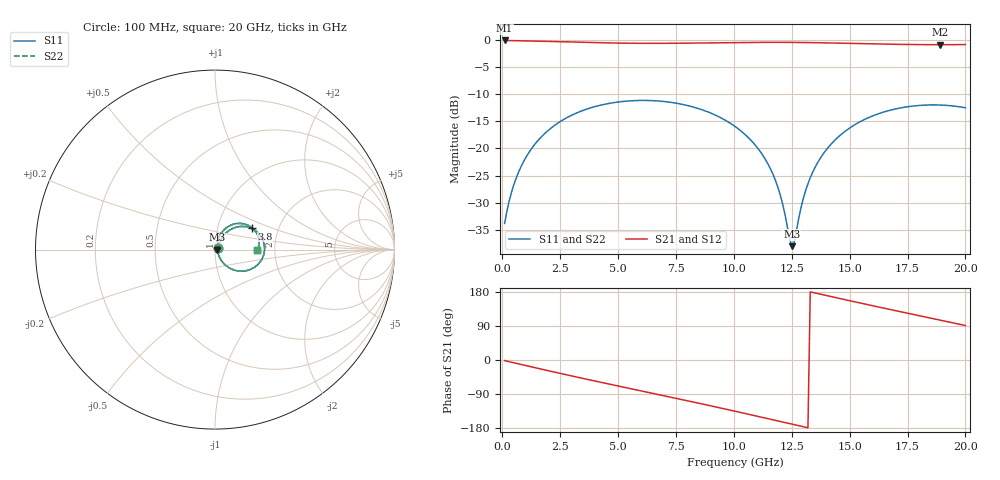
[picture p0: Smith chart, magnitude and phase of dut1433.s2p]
! Touchstone file exported from HFSS 2026.1.0
!  File:  C:/ffzhzh/LocalFiles/Ansys_Project_Files/temp_train_TSV_RDL_1433_1783356037_48288.aedt
!  Generated:  12:55:29 AM Jul  7, 2026
!  Design:  TSV_RDL
!  Project:  temp_train_TSV_RDL_1433_1783356037_48288
! Variables:
!  h_bsmrdl = 5.21um
!  h_ox = 20um
!  h_rdl = 5um
!  h_sub = 96.74um
!  h_tmrdl = 2.92um
!  h_tsv = 96.74um
!  h_via = 3um
!  l_bsmrdl = 839.17um
!  l_sub = 4388.07um
!  l_tmrdl = 331.55um
!  m_sub = 200um
!  pitch = 36.25um
!  r_tsv = 5.18um
!  s_tmrdl = 10um
!  w_bsmrdl = 26.76um
!  w_sub = 500um
!  w_tmrdl = 21.36um
!  x_tsv_center1 = 342.23um
!  x_tsv_center2 = 1208.16um
!  x_tsv_center3 = 1561.07um
!  x_tsv_center4 = 2427um
!  x_tsv_center5 = 2779.91um
!  x_tsv_center6 = 3645.84um
# GHz S MA R 50.000000
! Terminal data exported
! Port[1] = TM_RDL1_1_T1
! Port[2] = TM_RDL5_1_T1
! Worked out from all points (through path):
!   200 points, 100 MHz to 20 GHz, reference 50 ohm
!   highest |S21| = -0.16 dB at 100 MHz (marker M1); lowest = -0.9 dB at 18.9 GHz (marker M2)
!   group delay of S21, straight-line fit = 37.3 ps
!   lowest |S11| = -37.9 dB at 12.5 GHz (marker M3), VSWR 1.03, Z = 51.3 - j0.00102 ohm
!   |S11| at or under -10 dB: start of sweep to end of sweep
!   |S22| runs from -38.1 to -11.2 dB; largest |S21 - S12| = 1.7e-14
!   S11 on the Smith chart (normalised r, x): 100 MHz: 1.04, +0.02; 3.8 GHz: 1.46, +0.36; 20 GHz: 1.62, -0.01
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0.1  0.02049 26.8  0.9819 -1.6  0.9819 -1.6  0.02049 26.8
! Gamma 0 0 0 0
! Port Impedance 50 0 50 0
0.5  0.04656 54.8  0.9774 -7.3  0.9774 -7.3  0.04657 54.8
1.2  0.09535 57.9  0.9712 -17.3  0.9712 -17.3  0.09535 57.9
2.2  0.1596 48.9  0.9595 -31.3  0.9595 -31.3  0.1597 48.9
3.5  0.2243 33.6  0.9429 -48.9  0.9429 -48.9  0.2243 33.6
3.8  0.2356 30.0  0.9395 -52.9  0.9395 -52.9  0.2357 29.9
5.3  0.2716 11.7  0.927 -72.5  0.927 -72.5  0.2716 11.6
6.8  0.2723 -6.6  0.924 -91.9  0.924 -91.9  0.2724 -6.6
8.5  0.2315 -27.4  0.9305 -114.2  0.9305 -114.2  0.2316 -27.5
10.1  0.1567 -46.7  0.94 -135.8  0.94 -135.8  0.1567 -46.8
11  0.1027 -56.2  0.9435 -148.2  0.9435 -148.2  0.1027 -56.4
11.6  0.06383 -59.9  0.9444 -156.6  0.9444 -156.6  0.06384 -60.2
12  0.03773 -57.2  0.9441 -162.1  0.9441 -162.1  0.0377 -57.5
12.5  0.01268 -0.0  0.9428 -169.1  0.9428 -169.1  0.0125 -0.4
12.6  0.01368 28.3  0.9424 -170.5  0.9424 -170.5  0.0135 28.4
13  0.03476 68.6  0.9405 -176.1  0.9405 -176.1  0.03467 68.8
13.4  0.06023 72.5  0.9379 178.4  0.9379 178.4  0.06016 72.5
14  0.09776 69.2  0.9331 170.1  0.9331 170.1  0.09771 69.2
14.7  0.1382 62.2  0.9264 160.5  0.9264 160.5  0.1382 62.1
16.7  0.2232 38.7  0.9072 133.9  0.9072 133.9  0.2232 38.6
18.9  0.2507 12.3  0.8979 105.3  0.8979 105.3  0.2508 12.1
20  0.2366 -0.9  0.8999 91.0  0.8999 91.0  0.2367 -1.1
